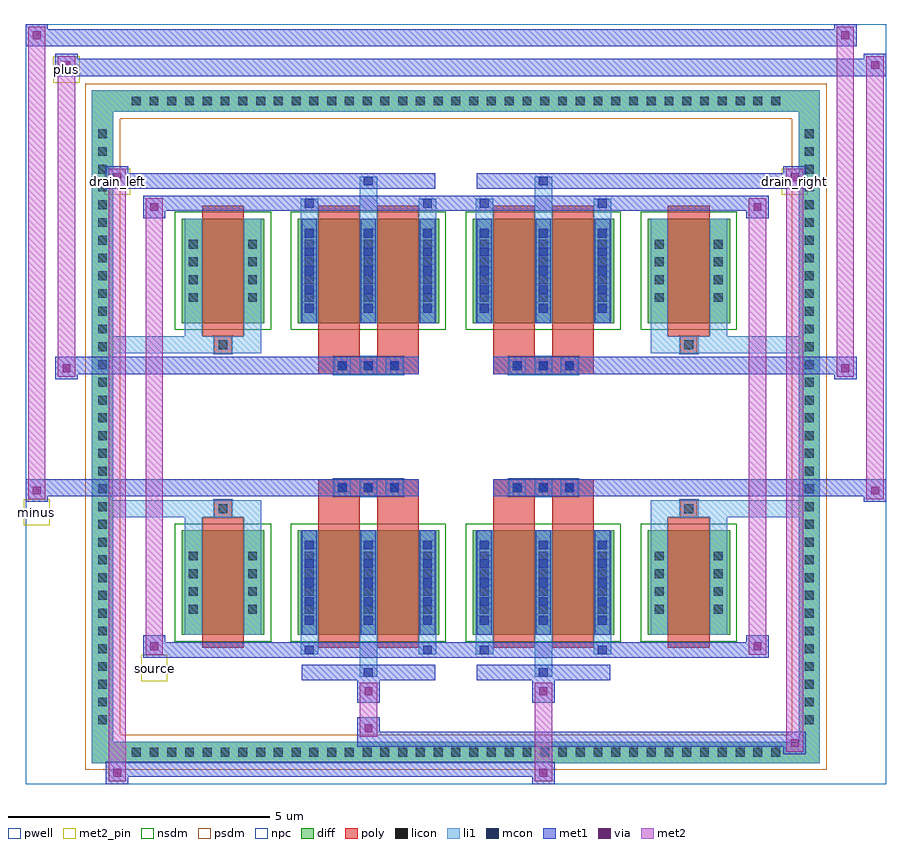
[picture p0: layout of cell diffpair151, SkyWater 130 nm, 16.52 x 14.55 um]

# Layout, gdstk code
import gdstk
lib = gdstk.Library(unit=1e-6, precision=5e-09)
def R(c, l, rs):  # rectangles x0, y0, x1, y1
    for r in rs: c.add(gdstk.rectangle(r[:2], r[2:], *l))
def A(c, l, x, y, w, h, nx, ny, dx, dy):  # array of equal rectangles
    R(c, l, [(x+i*dx, y+j*dy, x+i*dx+w, y+j*dy+h) for i in range(nx) for j in range(ny)])
def P(c, l, *ps):  # polygons
    for p in ps: c.add(gdstk.Polygon(p, *l))
pwell = (64, 44)
diff = (65, 20)
poly = (66, 20)
licon = (66, 44)
li1 = (67, 20)
mcon = (67, 44)
met1 = (68, 20)
via = (68, 44)
met2_pin = (69, 16)
met2 = (69, 20)
nsdm = (93, 44)
psdm = (94, 20)
npc = (95, 20)

diffpair151 = lib.new_cell('diffpair151')
R(diffpair151, pwell, [(-8.24,-6.84,8.24,7.71), (-5.56,-5.03,-0.01,-0.805), (0.01,-5.03,5.56,-0.805), (-5.56,0.805,-0.01,5.03), (0.01,0.805,5.56,5.03)])
A(diffpair151, diff, -6.325, -6.44, 0.41, 0.41, 37, 2, 0.34, 12.47)
A(diffpair151, diff, -6.97, -5.815, 0.41, 0.41, 1, 34, 0, 0.34)
A(diffpair151, diff, 6.56, -5.815, 0.41, 0.41, 1, 34, 0, 0.34)
R(diffpair151, diff, [(-6.325,-6.44,6.325,-6.03), (-6.97,-5.815,-6.56,5.815), (6.56,-5.815,6.97,5.815), (-5.25,-3.985,-3.67,-1.985), (-3.03,-3.985,-0.32,-1.985), (0.32,-3.985,3.03,-1.985), (3.67,-3.985,5.25,-1.985), (-5.25,1.985,-3.67,3.985), (-3.03,1.985,-0.32,3.985), (0.32,1.985,3.03,3.985), (3.67,1.985,5.25,3.985), (-6.325,6.03,6.325,6.44)])
P(diffpair151, diff, [(6.97,6.44),(-6.97,6.44),(-6.97,-6.03),(-6.56,-6.03),(-6.56,6.03),(6.56,6.03),(6.56,-6.03),(-6.56,-6.03),(-6.97,-6.03),(-6.97,-6.44),(6.97,-6.44)])
A(diffpair151, poly, -2.34, -1.335, 0.33, 0.33, 3, 2, 0.5, 2.34)
A(diffpair151, poly, 1.01, -1.335, 0.33, 0.33, 3, 2, 0.5, 2.34)
R(diffpair151, poly, [(-4.86,-4.235,-4.06,-1.735), (-2.64,-4.235,-1.84,-1.735), (-1.51,-4.235,-0.71,-1.735), (0.71,-4.235,1.51,-1.735), (1.84,-4.235,2.64,-1.735), (4.06,-4.235,4.86,-1.735), (-4.625,-1.735,-4.295,-1.405), (-4.625,-1.735,-4.295,-1.405), (-2.64,-1.735,-1.84,-1.335), (-1.51,-1.735,-0.71,-1.335), (0.71,-1.735,1.51,-1.335), (1.84,-1.735,2.64,-1.335), (4.295,-1.735,4.625,-1.405), (4.295,-1.735,4.625,-1.405), (-2.64,-1.335,-0.71,-1.005), (0.71,-1.335,2.64,-1.005), (-2.64,1.005,-0.71,1.335), (0.71,1.005,2.64,1.335), (-2.64,1.335,-1.84,1.735), (-1.51,1.335,-0.71,1.735), (0.71,1.335,1.51,1.735), (1.84,1.335,2.64,1.735), (-4.625,1.405,-4.295,1.735), (-4.625,1.405,-4.295,1.735), (4.295,1.405,4.625,1.735), (4.295,1.405,4.625,1.735), (-4.86,1.735,-4.06,4.235), (-2.64,1.735,-1.84,4.235), (-1.51,1.735,-0.71,4.235), (0.71,1.735,1.51,4.235), (1.84,1.735,2.64,4.235), (4.06,1.735,4.86,4.235)])
A(diffpair151, licon, -6.205, -6.32, 0.17, 0.17, 37, 2, 0.34, 12.47)
A(diffpair151, licon, -6.85, -5.695, 0.17, 0.17, 1, 34, 0, 0.34)
A(diffpair151, licon, 6.68, -5.695, 0.17, 0.17, 1, 34, 0, 0.34)
A(diffpair151, licon, -5.11, -3.58, 0.17, 0.17, 1, 4, 0, 0.34)
A(diffpair151, licon, -3.98, -3.58, 0.17, 0.17, 1, 4, 0, 0.34)
A(diffpair151, licon, -2.89, -3.58, 0.17, 0.17, 3, 4, 1.13, 0.34)
A(diffpair151, licon, 0.46, -3.58, 0.17, 0.17, 3, 4, 1.13, 0.34)
A(diffpair151, licon, 3.81, -3.58, 0.17, 0.17, 1, 4, 0, 0.34)
A(diffpair151, licon, 4.94, -3.58, 0.17, 0.17, 1, 4, 0, 0.34)
A(diffpair151, licon, -2.26, -1.255, 0.17, 0.17, 3, 2, 0.5, 2.34)
A(diffpair151, licon, 1.09, -1.255, 0.17, 0.17, 3, 2, 0.5, 2.34)
A(diffpair151, licon, -5.11, 2.39, 0.17, 0.17, 1, 4, 0, 0.34)
A(diffpair151, licon, -3.98, 2.39, 0.17, 0.17, 1, 4, 0, 0.34)
A(diffpair151, licon, -2.89, 2.39, 0.17, 0.17, 3, 4, 1.13, 0.34)
A(diffpair151, licon, 0.46, 2.39, 0.17, 0.17, 3, 4, 1.13, 0.34)
A(diffpair151, licon, 3.81, 2.39, 0.17, 0.17, 1, 4, 0, 0.34)
A(diffpair151, licon, 4.94, 2.39, 0.17, 0.17, 1, 4, 0, 0.34)
R(diffpair151, licon, [(-4.545,-1.655,-4.375,-1.485), (4.375,-1.655,4.545,-1.485), (-4.545,1.485,-4.375,1.655), (4.375,1.485,4.545,1.655)])
A(diffpair151, li1, -6.285, -6.4, 0.33, 0.33, 37, 2, 0.34, 12.47)
A(diffpair151, li1, -6.93, -5.775, 0.33, 0.33, 1, 34, 0, 0.34)
A(diffpair151, li1, 6.6, -5.775, 0.33, 0.33, 1, 34, 0, 0.34)
A(diffpair151, li1, -2.97, -3.985, 0.33, 2, 3, 2, 1.13, 5.97)
A(diffpair151, li1, 0.38, -3.985, 0.33, 2, 3, 2, 1.13, 5.97)
A(diffpair151, li1, -2.89, -3.79, 0.17, 0.17, 3, 5, 1.13, 0.36)
A(diffpair151, li1, -2.89, -3.79, 0.17, 1.61, 3, 2, 1.13, 5.97)
A(diffpair151, li1, 0.46, -3.79, 0.17, 0.17, 3, 5, 1.13, 0.36)
A(diffpair151, li1, 0.46, -3.79, 0.17, 1.61, 3, 2, 1.13, 5.97)
A(diffpair151, li1, -5.19, -3.66, 0.33, 0.33, 1, 4, 0, 0.34)
A(diffpair151, li1, -4.06, -3.66, 0.33, 0.33, 1, 4, 0, 0.34)
A(diffpair151, li1, -2.97, -3.66, 0.33, 0.33, 3, 4, 1.13, 0.34)
A(diffpair151, li1, 0.38, -3.66, 0.33, 0.33, 3, 4, 1.13, 0.34)
A(diffpair151, li1, 3.73, -3.66, 0.33, 0.33, 1, 4, 0, 0.34)
A(diffpair151, li1, 4.86, -3.66, 0.33, 0.33, 1, 4, 0, 0.34)
A(diffpair151, li1, -2.34, -1.335, 0.33, 0.33, 3, 2, 0.5, 2.34)
A(diffpair151, li1, 1.01, -1.335, 0.33, 0.33, 3, 2, 0.5, 2.34)
A(diffpair151, li1, -2.89, 2.18, 0.17, 0.17, 3, 5, 1.13, 0.36)
A(diffpair151, li1, 0.46, 2.18, 0.17, 0.17, 3, 5, 1.13, 0.36)
A(diffpair151, li1, -5.19, 2.31, 0.33, 0.33, 1, 4, 0, 0.34)
A(diffpair151, li1, -4.06, 2.31, 0.33, 0.33, 1, 4, 0, 0.34)
A(diffpair151, li1, -2.97, 2.31, 0.33, 0.33, 3, 4, 1.13, 0.34)
A(diffpair151, li1, 0.38, 2.31, 0.33, 0.33, 3, 4, 1.13, 0.34)
A(diffpair151, li1, 3.73, 2.31, 0.33, 0.33, 1, 4, 0, 0.34)
A(diffpair151, li1, 4.86, 2.31, 0.33, 0.33, 1, 4, 0, 0.34)
R(diffpair151, li1, [(-6.97,-6.44,-6.56,-6.03), (-6.97,-6.44,-6.56,-6.03), (-6.56,-6.44,6.56,-6.03), (6.56,-6.44,6.97,-6.03), (6.56,-6.44,6.97,-6.03), (-6.97,-6.03,-6.56,6.03), (6.56,-6.03,6.97,6.03), (-1.84,-4.79,-1.51,-3.985), (-1.76,-4.79,-1.59,-4.62), (1.51,-4.79,1.84,-3.985), (1.59,-4.79,1.76,-4.62), (-2.97,-4.36,-2.64,-3.985), (-2.89,-4.36,-2.72,-4.19), (-0.71,-4.36,-0.38,-3.985), (-0.63,-4.36,-0.46,-4.19), (0.38,-4.36,0.71,-3.985), (0.46,-4.36,0.63,-4.19), (2.64,-4.36,2.97,-3.985), (2.72,-4.36,2.89,-4.19), (-5.19,-3.985,-4.86,-1.985), (-4.06,-3.985,-3.73,-1.985), (3.73,-3.985,4.06,-1.985), (4.86,-3.985,5.19,-1.985), (-5.19,-1.985,-4.86,-1.405), (-4.06,-1.985,-3.73,-1.405), (3.73,-1.985,4.06,-1.405), (4.86,-1.985,5.19,-1.405), (-6.97,-1.735,-4.625,-1.405), (-5.19,-1.735,-4.625,-1.405), (-4.625,-1.735,-4.295,-1.405), (-4.295,-1.735,-3.73,-1.405), (3.73,-1.735,4.295,-1.405), (4.295,-1.735,4.625,-1.405), (4.295,-1.735,6.97,-1.405), (4.625,-1.735,5.19,-1.405), (-6.97,1.405,-4.625,1.735), (-5.19,1.405,-4.625,1.735), (-5.19,1.405,-4.86,1.985), (-4.625,1.405,-4.295,1.735), (-4.295,1.405,-3.73,1.735), (-4.06,1.405,-3.73,1.985), (3.73,1.405,4.295,1.735), (3.73,1.405,4.06,1.985), (4.295,1.405,4.625,1.735), (4.295,1.405,6.97,1.735), (4.625,1.405,5.19,1.735), (4.86,1.405,5.19,1.985), (-5.19,1.985,-4.86,3.985), (-4.06,1.985,-3.73,3.985), (3.73,1.985,4.06,3.985), (4.86,1.985,5.19,3.985), (-2.97,3.985,-2.64,4.36), (-1.84,3.985,-1.51,4.79), (-0.71,3.985,-0.38,4.36), (0.38,3.985,0.71,4.36), (1.51,3.985,1.84,4.79), (2.64,3.985,2.97,4.36), (-2.89,4.19,-2.72,4.36), (-0.63,4.19,-0.46,4.36), (0.46,4.19,0.63,4.36), (2.72,4.19,2.89,4.36), (-1.76,4.62,-1.59,4.79), (1.59,4.62,1.76,4.79), (-6.97,6.03,-6.56,6.44), (-6.97,6.03,-6.56,6.44), (-6.56,6.03,6.56,6.44), (6.56,6.03,6.97,6.44), (6.56,6.03,6.97,6.44)])
A(diffpair151, mcon, -2.89, -3.79, 0.17, 0.17, 3, 5, 1.13, 0.36)
A(diffpair151, mcon, 0.46, -3.79, 0.17, 0.17, 3, 5, 1.13, 0.36)
A(diffpair151, mcon, -2.26, -1.255, 0.17, 0.17, 3, 2, 0.5, 2.34)
A(diffpair151, mcon, 1.09, -1.255, 0.17, 0.17, 3, 2, 0.5, 2.34)
A(diffpair151, mcon, -2.89, 2.18, 0.17, 0.17, 3, 5, 1.13, 0.36)
A(diffpair151, mcon, 0.46, 2.18, 0.17, 0.17, 3, 5, 1.13, 0.36)
R(diffpair151, mcon, [(-1.76,-4.79,-1.59,-4.62), (1.59,-4.79,1.76,-4.62), (-2.89,-4.36,-2.72,-4.19), (-0.63,-4.36,-0.46,-4.19), (0.46,-4.36,0.63,-4.19), (2.72,-4.36,2.89,-4.19), (-2.89,4.19,-2.72,4.36), (-0.63,4.19,-0.46,4.36), (0.46,4.19,0.63,4.36), (2.72,4.19,2.89,4.36), (-1.76,4.62,-1.59,4.79), (1.59,4.62,1.76,4.79)])
A(diffpair151, met1, -2.95, -3.985, 0.29, 2, 3, 2, 1.13, 5.97)
A(diffpair151, met1, 0.4, -3.985, 0.29, 2, 3, 2, 1.13, 5.97)
A(diffpair151, met1, -2.95, -3.85, 0.29, 0.29, 3, 5, 1.13, 0.36)
A(diffpair151, met1, 0.4, -3.85, 0.29, 0.29, 3, 5, 1.13, 0.36)
A(diffpair151, met1, -2.32, -1.315, 0.29, 0.29, 3, 2, 0.5, 2.34)
A(diffpair151, met1, 1.03, -1.315, 0.29, 0.29, 3, 2, 0.5, 2.34)
A(diffpair151, met1, -2.95, 2.12, 0.29, 0.29, 3, 5, 1.13, 0.36)
A(diffpair151, met1, 0.4, 2.12, 0.29, 0.29, 3, 5, 1.13, 0.36)
R(diffpair151, met1, [(-6.7,-6.84,-6.27,-6.41), (1.46,-6.84,1.89,-6.41), (-6.7,-6.7,1.89,-6.41), (6.27,-6.27,6.7,-5.84), (-1.89,-6.13,6.7,-5.84), (-1.89,-5.99,-1.46,-5.56), (-1.89,-5.28,-1.46,-4.85), (1.46,-5.28,1.89,-4.85), (-2.95,-4.85,-0.4,-4.56), (-1.82,-4.85,-1.53,-4.56), (0.4,-4.85,2.95,-4.56), (1.53,-4.85,1.82,-4.56), (-5.99,-4.42,-5.56,-3.99), (-5.99,-4.42,-2.95,-4.13), (-2.95,-4.42,-2.66,-4.13), (-2.95,-4.42,-0.4,-4.13), (-0.69,-4.42,-0.4,-4.13), (-0.4,-4.42,0.4,-4.13), (0.4,-4.42,0.69,-4.13), (0.4,-4.42,2.95,-4.13), (2.66,-4.42,2.95,-4.13), (2.95,-4.42,5.99,-4.13), (5.56,-4.42,5.99,-3.99), (-8.24,-1.435,-7.81,-1.005), (7.81,-1.435,8.24,-1.005), (-8.24,-1.335,-0.71,-1.005), (-2.64,-1.335,-0.71,-1.005), (0.71,-1.335,2.64,-1.005), (0.71,-1.335,8.24,-1.005), (-7.67,0.905,-7.24,1.335), (7.24,0.905,7.67,1.335), (-7.67,1.005,-2.64,1.335), (-2.64,1.005,-0.71,1.335), (0.71,1.005,2.64,1.335), (2.64,1.005,7.67,1.335), (-5.99,3.99,-5.56,4.42), (5.56,3.99,5.99,4.42), (-5.99,4.13,-2.95,4.42), (-2.95,4.13,-2.66,4.42), (-2.95,4.13,-0.4,4.42), (-0.69,4.13,-0.4,4.42), (-0.4,4.13,0.4,4.42), (0.4,4.13,0.69,4.42), (0.4,4.13,2.95,4.42), (2.66,4.13,2.95,4.42), (2.95,4.13,5.99,4.42), (-6.7,4.56,-6.27,4.99), (-6.7,4.56,-2.95,4.85), (-2.95,4.56,-0.4,4.85), (-1.82,4.56,-1.53,4.85), (0.4,4.56,2.95,4.85), (1.53,4.56,1.82,4.85), (2.95,4.56,6.7,4.85), (6.27,4.56,6.7,4.99), (-7.67,6.71,-7.24,7.14), (-7.67,6.71,-5.56,7.04), (-5.56,6.71,5.56,7.04), (5.56,6.71,8.24,7.04), (7.81,6.71,8.24,7.14), (-8.24,7.28,-7.81,7.71), (-8.24,7.28,-5.56,7.61), (-5.56,7.28,5.56,7.61), (5.56,7.28,7.67,7.61), (7.24,7.28,7.67,7.71)])
R(diffpair151, via, [(-6.56,-6.7,-6.41,-6.55), (1.6,-6.7,1.75,-6.55), (6.41,-6.13,6.56,-5.98), (-1.75,-5.85,-1.6,-5.7), (-1.75,-5.14,-1.6,-4.99), (1.6,-5.14,1.75,-4.99), (-5.85,-4.28,-5.7,-4.13), (5.7,-4.28,5.85,-4.13), (-8.1,-1.295,-7.95,-1.145), (7.95,-1.295,8.1,-1.145), (-7.53,1.045,-7.38,1.195), (7.38,1.045,7.53,1.195), (-5.85,4.13,-5.7,4.28), (5.7,4.13,5.85,4.28), (-6.56,4.7,-6.41,4.85), (6.41,4.7,6.56,4.85), (-7.53,6.85,-7.38,7), (7.95,6.85,8.1,7), (-8.1,7.42,-7.95,7.57), (7.38,7.42,7.53,7.57)])
R(diffpair151, met2_pin, [(-6.025,-4.87,-5.525,-4.37), (-8.275,-1.885,-7.775,-1.385), (-6.735,4.44,-6.235,4.94), (6.235,4.44,6.735,4.94), (-7.705,6.59,-7.205,7.09)])
R(diffpair151, met2, [(-6.65,-6.79,-6.32,-6.46), (-6.65,-6.79,-6.32,4.94), (1.51,-6.79,1.84,-6.46), (1.51,-6.46,1.84,-5.23), (6.32,-6.22,6.65,-5.89), (6.32,-6.22,6.65,4.94), (-1.84,-5.94,-1.51,-5.61), (-1.84,-5.61,-1.51,-5.23), (-1.84,-5.23,-1.51,-4.9), (1.51,-5.23,1.84,-4.9), (-5.94,-4.37,-5.61,-4.04), (-5.94,-4.37,-5.61,4.37), (5.61,-4.37,5.94,-4.04), (5.61,-4.37,5.94,4.37), (-8.19,-1.385,-7.86,-1.055), (-8.19,-1.385,-7.86,7.66), (7.86,-1.385,8.19,-1.055), (7.86,-1.385,8.19,7.09), (-7.62,0.955,-7.29,1.285), (-7.62,0.955,-7.29,7.09), (7.29,0.955,7.62,1.285), (7.29,0.955,7.62,7.66), (-5.94,4.04,-5.61,4.37), (5.61,4.04,5.94,4.37), (-6.65,4.61,-6.32,4.94), (6.32,4.61,6.65,4.94), (-7.62,6.76,-7.29,7.09), (7.86,6.76,8.19,7.09), (-8.19,7.33,-7.86,7.66), (7.29,7.33,7.62,7.66)])
P(diffpair151, met2, [(8.19,-1.385),(8.19,-1.385),(8.19,-1.055),(8.19,-1.055)],
  [(8.19,6.76),(8.19,6.76),(8.19,7.09),(8.19,7.09)],
  [(-7.86,-1.385),(-7.86,-1.385),(-7.86,-1.055),(-7.86,-1.055)],
  [(-7.86,7.33),(-7.86,7.33),(-7.86,7.66),(-7.86,7.66)],
  [(7.62,0.955),(7.62,0.955),(7.62,1.285),(7.62,1.285)],
  [(7.62,7.33),(7.62,7.33),(7.62,7.66),(7.62,7.66)],
  [(-7.29,0.955),(-7.29,0.955),(-7.29,1.285),(-7.29,1.285)],
  [(-7.29,6.76),(-7.29,6.76),(-7.29,7.09),(-7.29,7.09)],
  [(-6.32,-6.79),(-6.32,-6.79),(-6.32,-6.46),(-6.32,-6.46)],
  [(-6.32,4.61),(-6.32,4.61),(-6.32,4.94),(-6.32,4.94)],
  [(6.65,-6.22),(6.65,-6.22),(6.65,-5.89),(6.65,-5.89)],
  [(6.65,4.61),(6.65,4.61),(6.65,4.94),(6.65,4.94)],
  [(-5.61,-4.37),(-5.61,-4.37),(-5.61,-4.04),(-5.61,-4.04)],
  [(-5.61,4.04),(-5.61,4.04),(-5.61,4.37),(-5.61,4.37)],
  [(5.94,-4.37),(5.94,-4.37),(5.94,-4.04),(5.94,-4.04)],
  [(5.94,4.04),(5.94,4.04),(5.94,4.37),(5.94,4.37)])
R(diffpair151, nsdm, [(-5.38,-4.115,-3.54,-1.855), (-3.16,-4.115,-0.19,-1.855), (0.19,-4.115,3.16,-1.855), (3.54,-4.115,5.38,-1.855), (-5.38,1.855,-3.54,4.115), (-3.16,1.855,-0.19,4.115), (0.19,1.855,3.16,4.115), (3.54,1.855,5.38,4.115)])
P(diffpair151, psdm, [(7.1,6.57),(-7.1,6.57),(-7.1,-5.9),(-6.43,-5.9),(-6.43,5.9),(6.43,5.9),(6.43,-5.9),(-6.43,-5.9),(-7.1,-5.9),(-7.1,-6.57),(7.1,-6.57)])
A(diffpair151, npc, -2.36, -1.355, 0.37, 0.37, 3, 2, 0.5, 2.34)
A(diffpair151, npc, 0.99, -1.355, 0.37, 0.37, 3, 2, 0.5, 2.34)
R(diffpair151, npc, [(-4.645,-1.755,-4.275,-1.385), (4.275,-1.755,4.645,-1.385), (-2.36,-1.355,-1.49,-0.985), (-2.36,-1.355,-1.49,-0.985), (-1.86,-1.355,-0.99,-0.985), (-1.86,-1.355,-0.99,-0.985), (0.99,-1.355,1.86,-0.985), (0.99,-1.355,1.86,-0.985), (1.49,-1.355,2.36,-0.985), (1.49,-1.355,2.36,-0.985), (-2.36,0.985,-1.49,1.355), (-2.36,0.985,-1.49,1.355), (-1.86,0.985,-0.99,1.355), (-1.86,0.985,-0.99,1.355), (0.99,0.985,1.86,1.355), (0.99,0.985,1.86,1.355), (1.49,0.985,2.36,1.355), (1.49,0.985,2.36,1.355), (-4.645,1.385,-4.275,1.755), (4.275,1.385,4.645,1.755)])
diffpair151.add(gdstk.Label('minus', (-8.025,-1.635), layer=69, texttype=5))
diffpair151.add(gdstk.Label('drain_right', (6.485,4.69), layer=69, texttype=5))
diffpair151.add(gdstk.Label('drain_left', (-6.485,4.69), layer=69, texttype=5))
diffpair151.add(gdstk.Label('source', (-5.775,-4.62), layer=69, texttype=5))
diffpair151.add(gdstk.Label('plus', (-7.455,6.84), layer=69, texttype=5))

lib.write_gds('diffpair151.gds')
